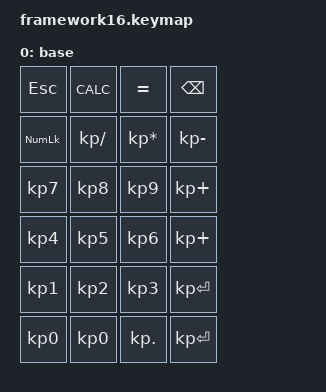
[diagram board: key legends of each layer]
// Copyright (c) 2025 The ZMK Contributors
// SPDX-License-Identifier: MIT

#include <behaviors.dtsi>
#include <dt-bindings/zmk/keys.h>

/ {
    keymap {
        compatible = "zmk,keymap";

        base {
            bindings = <
                &kp ESC    &kp K_CALC   &kp EQUAL       &kp BACKSPACE
                &kp KP_NUM &kp KP_SLASH &kp KP_ASTERISK &kp KP_MINUS
                &kp KP_N7  &kp KP_N8    &kp KP_N9       &kp KP_PLUS
                &kp KP_N4  &kp KP_N5    &kp KP_N6       &kp KP_PLUS
                &kp KP_N1  &kp KP_N2    &kp KP_N3       &kp KP_ENTER
                &kp KP_N0  &kp KP_N0    &kp KP_DOT      &kp KP_ENTER
            >;
        };
    };
};
